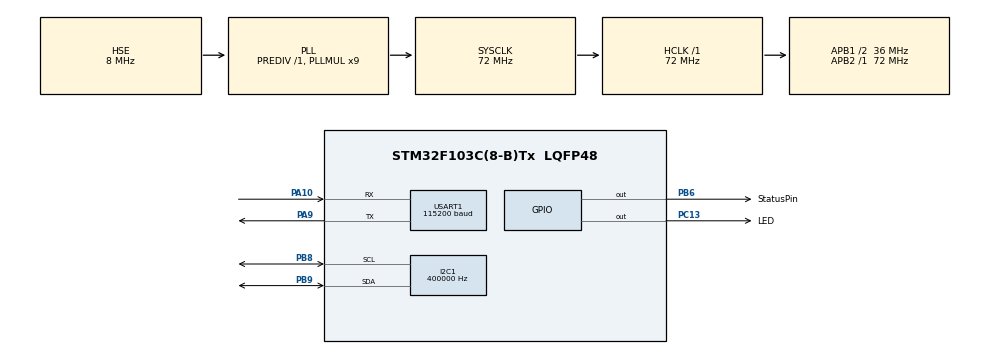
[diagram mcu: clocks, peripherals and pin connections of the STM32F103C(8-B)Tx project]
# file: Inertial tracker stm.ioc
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Dma.I2C1_RX.1.Direction=DMA_PERIPH_TO_MEMORY
Dma.I2C1_RX.1.Instance=DMA1_Channel7
Dma.I2C1_RX.1.MemDataAlignment=DMA_MDATAALIGN_BYTE
Dma.I2C1_RX.1.MemInc=DMA_MINC_ENABLE
Dma.I2C1_RX.1.Mode=DMA_NORMAL
Dma.I2C1_RX.1.PeriphDataAlignment=DMA_PDATAALIGN_BYTE
Dma.I2C1_RX.1.PeriphInc=DMA_PINC_DISABLE
Dma.I2C1_RX.1.Priority=DMA_PRIORITY_VERY_HIGH
Dma.Request0=USART1_TX
Dma.Request1=I2C1_RX
Dma.USART1_TX.0.Direction=DMA_MEMORY_TO_PERIPH
Dma.USART1_TX.0.Instance=DMA1_Channel4
Dma.USART1_TX.0.MemDataAlignment=DMA_MDATAALIGN_BYTE
Dma.USART1_TX.0.MemInc=DMA_MINC_ENABLE
Dma.USART1_TX.0.Mode=DMA_NORMAL
Dma.USART1_TX.0.PeriphDataAlignment=DMA_PDATAALIGN_BYTE
Dma.USART1_TX.0.PeriphInc=DMA_PINC_DISABLE
Dma.USART1_TX.0.Priority=DMA_PRIORITY_LOW
I2C1.AddressingMode=I2C_ADDRESSINGMODE_7BIT
I2C1.ClockSpeed=400000
I2C1.DualAddressMode=I2C_DUALADDRESS_DISABLE
I2C1.GeneralCallMode=I2C_GENERALCALL_DISABLE
I2C1.I2C_Mode=I2C_Fast
I2C1.NoStretchMode=I2C_NOSTRETCH_DISABLE
I2C1.OwnAddress=0
Mcu.Family=STM32F1
Mcu.Name=STM32F103C(8-B)Tx
Mcu.Package=LQFP48
NVIC.DMA1_Channel4_IRQn=true\:0\:0\:false\:false\:true\:false\:true
NVIC.DMA1_Channel7_IRQn=true\:0\:0\:false\:false\:true\:false\:true
NVIC.I2C1_ER_IRQn=true\:0\:0\:false\:false\:true\:true\:true
NVIC.I2C1_EV_IRQn=true\:0\:0\:false\:false\:true\:true\:true
NVIC.PriorityGroup=NVIC_PRIORITYGROUP_4
NVIC.TIM4_IRQn=true\:15\:0\:false\:false\:true\:true\:true
NVIC.USART1_IRQn=true\:0\:0\:false\:false\:true\:true\:true
PA10.Mode=Asynchronous
PA10.Signal=USART1_RX
PA13.Mode=Serial_Wire
PA13.Signal=SYS_JTMS-SWDIO
PA14.Mode=Serial_Wire
PA14.Signal=SYS_JTCK-SWCLK
PA9.Mode=Asynchronous
PA9.Signal=USART1_TX
PB6.GPIO_Label=StatusPin
PB6.GPIO_PuPd=GPIO_PULLUP
PB6.GPIO_Speed=GPIO_SPEED_FREQ_HIGH
PB6.Signal=GPIO_Output
PB8.Mode=I2C
PB8.Signal=I2C1_SCL
PB9.Mode=I2C
PB9.Signal=I2C1_SDA
PC13-TAMPER-RTC.GPIO_Label=LED
PC13-TAMPER-RTC.GPIO_ModeDefaultOutputPP=GPIO_MODE_OUTPUT_OD
PC13-TAMPER-RTC.Signal=GPIO_Output
PD0-OSC_IN.Mode=HSE-External-Oscillator
PD0-OSC_IN.Signal=RCC_OSC_IN
PD1-OSC_OUT.Mode=HSE-External-Oscillator
PD1-OSC_OUT.Signal=RCC_OSC_OUT
ProjectManager.HeapSize=0x200
ProjectManager.StackSize=0x400
ProjectManager.TargetToolchain=MDK-ARM V5.27
RCC.AHBFreq_Value=72000000
RCC.APB1CLKDivider=RCC_HCLK_DIV2
RCC.APB1Freq_Value=36000000
RCC.APB1TimFreq_Value=72000000
RCC.APB2Freq_Value=72000000
RCC.APB2TimFreq_Value=72000000
RCC.FLatency=FLASH_LATENCY_2
RCC.HCLKFreq_Value=72000000
RCC.PLLMUL=RCC_PLL_MUL9
RCC.PLLSourceVirtual=RCC_PLLSOURCE_HSE
RCC.SYSCLKFreq_VALUE=72000000
RCC.SYSCLKSource=RCC_SYSCLKSOURCE_PLLCLK
RCC.USBFreq_Value=48000000
RCC.USBPrescaler=RCC_USBCLKSOURCE_PLL_DIV1_5
TIM4.AutoReloadPreload=TIM_AUTORELOAD_PRELOAD_DISABLE
TIM4.ClockDivision=TIM_CLOCKDIVISION_DIV1
TIM4.CounterMode=TIM_COUNTERMODE_UP
TIM4.Period=1000
TIM4.Prescaler=47
TIM4.TIM_MasterOutputTrigger=TIM_TRGO_RESET
TIM4.TIM_MasterSlaveMode=TIM_MASTERSLAVEMODE_DISABLE
USART1.BaudRate=115200
USART1.Mode=MODE_TX_RX
USART1.Parity=PARITY_NONE
USART1.StopBits=STOPBITS_1
USART1.VirtualMode=VM_ASYNC
USART1.WordLength=WORDLENGTH_8B
VP_TIM4_VS_ClockSourceINT.Mode=Internal
board=custom

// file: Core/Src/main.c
/* USER CODE BEGIN Header */
/**
  ******************************************************************************
  * @file           : main.c
  * @brief          : Main program body
  ******************************************************************************
  * @attention
  *
  * <h2><center>&copy; Copyright (c) 2022 STMicroelectronics.
  * All rights reserved.</center></h2>
  *
  * This software component is licensed by ST under Ultimate Liberty license
  * SLA0044, the "License"; You may not use this file except in compliance with
  * the License. You may obtain a copy of the License at:
  *                             www.st.com/SLA0044
  *
  ******************************************************************************
  */
  /*
   * 	PINOUT
   * 	PA10 -> terminal TX
   * 	PA9	 -> terminal RX
   * 	PB9  -> IMU SDA
   * 	PB8  -> IMU SCL
   *
   * 	UART parameters
   * 	baud 115200
   *
   */
/* USER CODE END Header */
#include "main.h"
/* USER CODE BEGIN Includes */
#include <stdio.h>
#include <string.h>
#include <math.h>
#include "MPU9255.h"
#include "MATRIX.h"
#include "MICROS.h"
/* USER CODE END Includes */
I2C_HandleTypeDef hi2c1;
DMA_HandleTypeDef hdma_i2c1_rx;
TIM_HandleTypeDef htim4;
UART_HandleTypeDef huart1;
DMA_HandleTypeDef hdma_usart1_tx;
/* USER CODE BEGIN PV */
float ACx, ACy, ACz, GYx, GYy, GYz, GYxPrev, GYyPrev, GYzPrev, MAGx, MAGy, MAGz, accTotal, gyroTotal, magTotal;
uint8_t accGyroMagOverload;
const uint16_t PCazimuth = 345;

struct microsPeriod cyclePeriod = {0, 0},
										accGyroPeriod = {0, 0};
/* USER CODE END PV */
void SystemClock_Config(void);
static void MX_GPIO_Init(void);
static void MX_I2C1_Init(void);
static void MX_DMA_Init(void);
static void MX_USART1_UART_Init(void);
static void MX_TIM4_Init(void);
/* USER CODE BEGIN PFP */
void transmitBasis(float* floatArray, uint32_t time, uint8_t overload);

void initState(struct matrix *basis, struct matrix *gravity, struct matrix* north);
void restoreVertical(struct matrix* bas, struct matrix* grav, struct matrix* acc);
/* USER CODE END PFP */
int main(void)
{
  /* MCU Configuration--------------------------------------------------------*/
  /* Reset of all peripherals, Initializes the Flash interface and the Systick. */
  HAL_Init();
  /* Configure the system clock */
  SystemClock_Config();
  /* Initialize all configured peripherals */
  MX_GPIO_Init();
  MX_I2C1_Init();
  MX_DMA_Init();
  MX_USART1_UART_Init();
  MX_TIM4_Init();
  /* USER CODE BEGIN 2 */
	microsInit(&htim4, 72000000);	// start micros timer

	// startup the sensor, assign pointers of ACC, GYRO, MAG and overload flag variables
	MPU9255setup(&hi2c1, &ACx, &ACy, &ACz, &GYx, &GYy, &GYz, &MAGx, &MAGy, &MAGz, &accGyroMagOverload);

	struct matrix accVec,	gyroVec, magVec, rotMatrix, basis, gravityVec, northVec, velocityVec, coordinate;

	matrixZeroes(&accVec , 3, 1);
	matrixZeroes(&gyroVec , 3, 1);
	matrixZeroes(&magVec , 3, 1);
	matrixZeroes(&rotMatrix , 3, 3);
	matrixEye(&basis, 3);
	matrixZeroes(&gravityVec, 3,1);
	matrixZeroes(&northVec, 3, 1);
	matrixZeroes(&velocityVec, 3,1);
	matrixZeroes(&coordinate, 3, 1);

	matrixSE(&northVec, 0, 0, 1);
	matrixRotZ(&northVec, PCazimuth);
	// indication before the ongoing calibration. Sensor should be kept still!
	HAL_Delay(500);
	for(uint8_t v = 0; v<10; v++){
		HAL_GPIO_TogglePin(LED_GPIO_Port, LED_Pin);
		HAL_Delay(150);
	}
	HAL_GPIO_WritePin(LED_GPIO_Port, LED_Pin, GPIO_PIN_RESET);
	HAL_Delay(1000);
	HAL_GPIO_WritePin(LED_GPIO_Port, LED_Pin, GPIO_PIN_SET);

	initState(&basis, &gravityVec, &northVec);

  /* USER CODE END 2 */
  /* Infinite loop */
  /* USER CODE BEGIN WHILE */
	microsStart(&accGyroPeriod);
  while (1)//////////////////////////////////////////////////////////////////////////////////////////
  {
		static uint32_t ledToggleCnt = 0;
		float GYxTmp, GYyTmp, GYzTmp;
		HAL_GPIO_TogglePin(StatusPin_GPIO_Port, StatusPin_Pin);

		MPU9255_cycle(micros());

		if( MPU9255_ACC_GYRO_isReady() == 1){
			struct matrix ds;
			float periodS;

			matrixSE(&accVec, 0, 0, ACx);
			matrixSE(&accVec, 1, 0, ACy);
			matrixSE(&accVec, 2, 0, ACz);
			accTotal = matrixVecLen(&accVec);

			microsUpdate(&accGyroPeriod);
			periodS = (float) accGyroPeriod.period/1000000;
			GYxTmp = (GYx+GYxPrev)/2 * periodS;
			GYyTmp = (GYy+GYyPrev)/2 * periodS;
			GYzTmp = (GYz+GYzPrev)/2 * periodS;
			GYxPrev = GYx;
			GYyPrev = GYy;
			GYzPrev = GYz;

			matrixRot3D(&rotMatrix, GYxTmp, GYyTmp, GYzTmp);
			matrixMultiply(&basis, &rotMatrix, &basis);

			matrixMultiply(&basis, &accVec, &accVec);
			restoreVertical(&basis, &gravityVec, &accVec);
			matrixSum(&accVec, &gravityVec, &accVec);

/*			if ( fabs(matrixVecLen(&accVec)) > 0.5){
				matrixZeroes(&ds, 3, 1);
				matrixMultiplyByNumb(&velocityVec, &ds, periodS);
				matrixSum(&coordinate, &ds, &coordinate);
				matrixMultiplyByNumb(&accVec, &ds, pow(periodS, 2)/2);
				matrixSum(&coordinate, &ds, &coordinate);
				matrixMultiplyByNumb(&accVec, &ds, periodS);
				matrixSum(&velocityVec, &ds, &velocityVec);
			} else
				matrixZeroes(&velocityVec, 3, 1);*/
		}
		if( MPU9255_MAG_isReady() == 1){
			matrixSE(&magVec, 0, 0, MAGx);
			matrixSE(&magVec, 1, 0, MAGy);
			matrixSE(&magVec, 2, 0, MAGz);
			magTotal = matrixVecLen(&magVec);
		}

		transmitBasis(basis.arr, micros(), accGyroMagOverload);

		if(ledToggleCnt == 10000){// I hope this can indicate the load of the CPU
				HAL_GPIO_TogglePin(LED_GPIO_Port, LED_Pin);
				ledToggleCnt = 0;
		}
		ledToggleCnt++;

		microsUpdate(&cyclePeriod);
		/* USER CODE END WHILE */

    /* USER CODE BEGIN 3 */
		}////////////////////////////////////////////////////////////////////////////////////////////////
  /* USER CODE END 3 */
}

void SystemClock_Config(void)
{
  RCC_OscInitTypeDef RCC_OscInitStruct = {0};
  RCC_ClkInitTypeDef RCC_ClkInitStruct = {0};

  /** Initializes the RCC Oscillators according to the specified parameters
  * in the RCC_OscInitTypeDef structure.
  */
  RCC_OscInitStruct.OscillatorType = RCC_OSCILLATORTYPE_HSE;
  RCC_OscInitStruct.HSEState = RCC_HSE_ON;
  RCC_OscInitStruct.HSEPredivValue = RCC_HSE_PREDIV_DIV1;
  RCC_OscInitStruct.HSIState = RCC_HSI_ON;
  RCC_OscInitStruct.PLL.PLLState = RCC_PLL_ON;
  RCC_OscInitStruct.PLL.PLLSource = RCC_PLLSOURCE_HSE;
  RCC_OscInitStruct.PLL.PLLMUL = RCC_PLL_MUL9;
  if (HAL_RCC_OscConfig(&RCC_OscInitStruct) != HAL_OK)
  {
    Error_Handler();
  }
  /** Initializes the CPU, AHB and APB buses clocks
  */
  RCC_ClkInitStruct.ClockType = RCC_CLOCKTYPE_HCLK|RCC_CLOCKTYPE_SYSCLK
                              |RCC_CLOCKTYPE_PCLK1|RCC_CLOCKTYPE_PCLK2;
  RCC_ClkInitStruct.SYSCLKSource = RCC_SYSCLKSOURCE_PLLCLK;
  RCC_ClkInitStruct.AHBCLKDivider = RCC_SYSCLK_DIV1;
  RCC_ClkInitStruct.APB1CLKDivider = RCC_HCLK_DIV2;
  RCC_ClkInitStruct.APB2CLKDivider = RCC_HCLK_DIV1;

  if (HAL_RCC_ClockConfig(&RCC_ClkInitStruct, FLASH_LATENCY_2) != HAL_OK)
  {
    Error_Handler();
  }
}

static void MX_I2C1_Init(void)
{

  hi2c1.Instance = I2C1;
  hi2c1.Init.ClockSpeed = 400000;
  hi2c1.Init.DutyCycle = I2C_DUTYCYCLE_2;
  hi2c1.Init.OwnAddress1 = 0;
  hi2c1.Init.AddressingMode = I2C_ADDRESSINGMODE_7BIT;
  hi2c1.Init.DualAddressMode = I2C_DUALADDRESS_DISABLE;
  hi2c1.Init.OwnAddress2 = 0;
  hi2c1.Init.GeneralCallMode = I2C_GENERALCALL_DISABLE;
  hi2c1.Init.NoStretchMode = I2C_NOSTRETCH_DISABLE;
  if (HAL_I2C_Init(&hi2c1) != HAL_OK)
  {
    Error_Handler();
  }

}

static void MX_TIM4_Init(void)
{

  TIM_ClockConfigTypeDef sClockSourceConfig = {0};
  TIM_MasterConfigTypeDef sMasterConfig = {0};

  htim4.Instance = TIM4;
  htim4.Init.Prescaler = 47;
  htim4.Init.CounterMode = TIM_COUNTERMODE_UP;
  htim4.Init.Period = 1000;
  htim4.Init.ClockDivision = TIM_CLOCKDIVISION_DIV1;
  htim4.Init.AutoReloadPreload = TIM_AUTORELOAD_PRELOAD_DISABLE;
  if (HAL_TIM_Base_Init(&htim4) != HAL_OK)
  {
    Error_Handler();
  }
  sClockSourceConfig.ClockSource = TIM_CLOCKSOURCE_INTERNAL;
  if (HAL_TIM_ConfigClockSource(&htim4, &sClockSourceConfig) != HAL_OK)
  {
    Error_Handler();
  }
  sMasterConfig.MasterOutputTrigger = TIM_TRGO_RESET;
  sMasterConfig.MasterSlaveMode = TIM_MASTERSLAVEMODE_DISABLE;
  if (HAL_TIMEx_MasterConfigSynchronization(&htim4, &sMasterConfig) != HAL_OK)
  {
    Error_Handler();
  }

}

static void MX_USART1_UART_Init(void)
{

  huart1.Instance = USART1;
  huart1.Init.BaudRate = 115200;
  huart1.Init.WordLength = UART_WORDLENGTH_8B;
  huart1.Init.StopBits = UART_STOPBITS_1;
  huart1.Init.Parity = UART_PARITY_NONE;
  huart1.Init.Mode = UART_MODE_TX_RX;
  huart1.Init.HwFlowCtl = UART_HWCONTROL_NONE;
  huart1.Init.OverSampling = UART_OVERSAMPLING_16;
  if (HAL_UART_Init(&huart1) != HAL_OK)
  {
    Error_Handler();
  }

}

static void MX_DMA_Init(void)
{

  /* DMA controller clock enable */
  __HAL_RCC_DMA1_CLK_ENABLE();

  /* DMA interrupt init */
  /* DMA1_Channel4_IRQn interrupt configuration */
  HAL_NVIC_SetPriority(DMA1_Channel4_IRQn, 0, 0);
  HAL_NVIC_EnableIRQ(DMA1_Channel4_IRQn);
  /* DMA1_Channel7_IRQn interrupt configuration */
  HAL_NVIC_SetPriority(DMA1_Channel7_IRQn, 0, 0);
  HAL_NVIC_EnableIRQ(DMA1_Channel7_IRQn);

}

static void MX_GPIO_Init(void)
{
  GPIO_InitTypeDef GPIO_InitStruct = {0};

  /* GPIO Ports Clock Enable */
  __HAL_RCC_GPIOC_CLK_ENABLE();
  __HAL_RCC_GPIOD_CLK_ENABLE();
  __HAL_RCC_GPIOA_CLK_ENABLE();
  __HAL_RCC_GPIOB_CLK_ENABLE();

  /*Configure GPIO pin Output Level */
  HAL_GPIO_WritePin(LED_GPIO_Port, LED_Pin, GPIO_PIN_RESET);

  /*Configure GPIO pin Output Level */
  HAL_GPIO_WritePin(StatusPin_GPIO_Port, StatusPin_Pin, GPIO_PIN_RESET);

  /*Configure GPIO pin : LED_Pin */
  GPIO_InitStruct.Pin = LED_Pin;
  GPIO_InitStruct.Mode = GPIO_MODE_OUTPUT_OD;
  GPIO_InitStruct.Pull = GPIO_NOPULL;
  GPIO_InitStruct.Speed = GPIO_SPEED_FREQ_LOW;
  HAL_GPIO_Init(LED_GPIO_Port, &GPIO_InitStruct);

  /*Configure GPIO pin : StatusPin_Pin */
  GPIO_InitStruct.Pin = StatusPin_Pin;
  GPIO_InitStruct.Mode = GPIO_MODE_OUTPUT_PP;
  GPIO_InitStruct.Pull = GPIO_PULLUP;
  GPIO_InitStruct.Speed = GPIO_SPEED_FREQ_HIGH;
  HAL_GPIO_Init(StatusPin_GPIO_Port, &GPIO_InitStruct);

}

/* USER CODE BEGIN 4 */
// this fcn is needed to orient the MPU sensor
void initState(struct matrix *basis, struct matrix *gravity, struct matrix* north){
	struct matrix	rotVec, Rinit, acc, imGravity, magInit;
	float c, s, lx, ly, lz, theta;
	uint8_t magCnt = 0;

	matrixZeroes(&rotVec, 3,1);
	matrixZeroes(&Rinit, 3,3);
	matrixZeroes(&acc, 3,1);
	matrixZeroes(&imGravity, 3,1);
	matrixZeroes(&magInit, 3, 1);
	// acquisition ACC GYRO MAG meawurements
	for(uint8_t i = 0; i < 100; i++){
		while ( MPU9255_cycle(micros()) && 1<<0 == 0)
			HAL_Delay(1);

		while (MPU9255_ACC_GYRO_isReady() == 0){
			HAL_Delay(1);
			MPU9255_cycle(micros());
		}

		acc.arr[0] += ACx;
		acc.arr[1] += ACy;
		acc.arr[2] += ACz;
		if (MPU9255_MAG_isReady()){
			magInit.arr[0] += MAGx;
			magInit.arr[1] += MAGy;
			magInit.arr[2] += MAGz;
			magCnt ++;
		}
	}
	//// vertical alignment
	matrixMultiplyByNumb(&acc, gravity, -0.01);
	imGravity.arr[2] = -matrixVecLen(gravity);
	matrixCross(gravity, &imGravity, &rotVec);
	matrixNormVec(&rotVec, &rotVec);

	theta = acos(matrixDot(gravity, &imGravity)/(matrixVecLen(&imGravity)*matrixVecLen(gravity)));
	matrixRotArbVec(&Rinit, &rotVec, theta);

	matrixMultiply(&Rinit, basis , basis);
	matrixMultiply(basis, gravity, gravity);

	//// azimuth alignment
/*	matrixMultiplyByNumb(&magInit, &magInit, (float) 1/magCnt);
	matrixMultiply(basis, &magInit, &magInit);
	magInit.arr[2] = 0;
	matrixNormVec(&magInit, &magInit);
	theta = -matrixVecAzimuth(north, &magInit);

	matrixSE(&Rinit,	0,	0, cos(theta));
	matrixSE(&Rinit,	0,	1, -sin(theta));
	matrixSE(&Rinit,	0,	2, 0);
	matrixSE(&Rinit,	1,	0, sin(theta));
	matrixSE(&Rinit,	1,	1, cos(theta));
	matrixSE(&Rinit,	1,	2, 0);
	matrixSE(&Rinit,	2,	0, 0);
	matrixSE(&Rinit,	2,	1, 0);
	matrixSE(&Rinit,	2,	2, 1);

	matrixMultiply(&Rinit, basis , basis);*/
}
// transmits array of vectors and sensor overload flag to PC via COM
void transmitBasis(float* floatArray, uint32_t time, uint8_t overload){
	static uint32_t prewTime;
	if(time - prewTime < 30000) return;

	uint8_t data[10];

	prewTime = time;
	for(uint8_t i = 0; i<9; i++){
		data[i] = (int8_t) (floatArray[i]*100);
	}
	data[9] = overload;

	HAL_UART_Transmit_DMA(&huart1, data, 10);
}
// allign vertical orientation to mitigate drift of gyro sensors or after a loss of angles due to overload
void restoreVertical(struct matrix* bas, struct matrix* grav, struct matrix* acc){
	struct matrix	rotVec, Rinit;
	float accLen, angle;

	matrixZeroes(&rotVec, 3,1);
	matrixZeroes(&Rinit, 3,3);
	accLen = matrixVecLen(acc);

	if( accLen > 9.8 && accLen <  10.2){
		matrixCross(acc, grav, &rotVec);
		matrixNormVec(&rotVec, &rotVec);
		angle = -acos(-matrixDot(acc, grav)/(accLen*matrixVecLen(grav)));
		if( angle < -0.03 || angle > 0.03){
			matrixRotArbVec(&Rinit, &rotVec, angle/50);
			matrixMultiply(&Rinit, bas, bas);
		}
	}
}

/* USER CODE END 4 */

void Error_Handler(void)
{
  __disable_irq();
  while (1)
  {
  }
}

/************************ (C) COPYRIGHT STMicroelectronics *****END OF FILE****/
